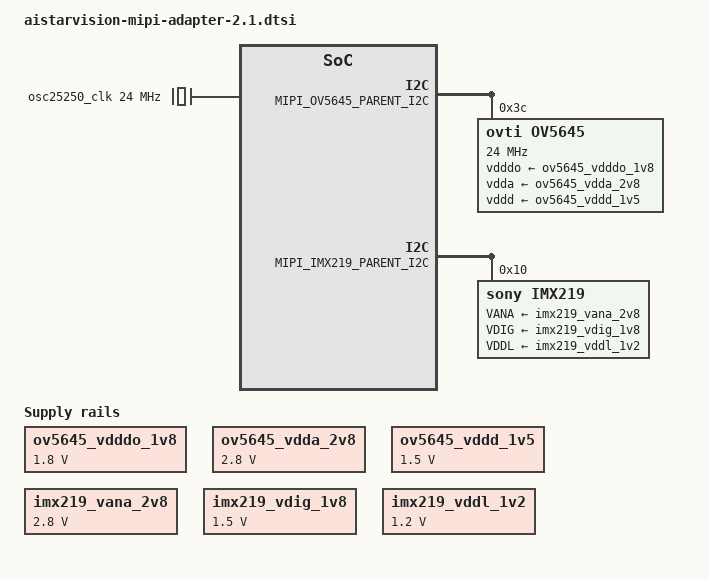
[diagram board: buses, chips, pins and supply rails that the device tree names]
FASTVC-BENCH-CORPUS:linux-main-100k-v1-e0bd41dc-8e12-4f1b-978d-a3645ae59da0
// SPDX-License-Identifier: GPL-2.0
/*
 * Device Tree Source for the AISTARVISION MIPI Adapter V2.1
 *
 * Copyright (C) 2020 Renesas Electronics Corp.
 */

/ {
	ov5645_vdddo_1v8: 1p8v {
		compatible = "regulator-fixed";
		regulator-name = "camera_vdddo";
		regulator-min-microvolt = <1800000>;
		regulator-max-microvolt = <1800000>;
		regulator-always-on;
	};

	ov5645_vdda_2v8: 2p8v {
		compatible = "regulator-fixed";
		regulator-name = "camera_vdda";
		regulator-min-microvolt = <2800000>;
/* bench 26709.0.0 38e950fddcf6 */
/* bench 26709.0.1 e15e485523d2 */
/* bench 26709.0.2 7486bea3f647 */
/* bench 26709.0.3 9561dfe23703 */
/* bench 26709.0.4 62fbae33c761 */
/* bench 26709.0.5 ccdf42effc37 */
/* bench 26709.0.6 a4504db81715 */
/* bench 26709.0.7 b996d5e2a98e */
/* bench 26709.0.8 88d1ebaae4af */
/* bench 26709.0.9 b40c9b80734e */
/* bench 26709.0.10 98e6f05850cc */
/* bench 26709.0.11 5c3fa7e9c8c4 */
/* bench 26709.0.12 bb03aba23ea3 */
/* bench 26709.0.13 89c829a10251 */
/* bench 26709.0.14 369d7922d266 */
		regulator-max-microvolt = <2800000>;
		regulator-always-on;
	};

	ov5645_vddd_1v5: 1p5v {
		compatible = "regulator-fixed";
		regulator-name = "camera_vddd";
		regulator-min-microvolt = <1500000>;
		regulator-max-microvolt = <1500000>;
		regulator-always-on;
	};

	imx219_vana_2v8: 2p8v {
		compatible = "regulator-fixed";
		regulator-name = "camera_vana";
		regulator-min-microvolt = <2800000>;
		regulator-max-microvolt = <2800000>;
		regulator-always-on;
	};

	imx219_vdig_1v8: 1p8v {
		compatible = "regulator-fixed";
		regulator-name = "camera_vdig";
		regulator-min-microvolt = <1500000>;
		regulator-max-microvolt = <1500000>;
		regulator-always-on;
	};

	imx219_vddl_1v2: 1p2v {
		compatible = "regulator-fixed";
		regulator-name = "camera_vddl";
		regulator-min-microvolt = <1200000>;
		regulator-max-microvolt = <1200000>;
		regulator-always-on;
	};

	osc25250_clk: osc25250_clk {
		compatible = "fixed-clock";
		#clock-cells = <0>;
		clock-frequency = <24000000>;
	};
};

&MIPI_OV5645_PARENT_I2C {
	ov5645: ov5645@3c {
		compatible = "ovti,ov5645";
		reg = <0x3c>;
		clock-names = "xclk";
		clocks = <&osc25250_clk>;
		clock-frequency = <24000000>;
		vdddo-supply = <&ov5645_vdddo_1v8>;
		vdda-supply = <&ov5645_vdda_2v8>;
		vddd-supply = <&ov5645_vddd_1v5>;

		port {
			ov5645_ep: endpoint {
			};
		};
	};
};

&MIPI_IMX219_PARENT_I2C {
	imx219: imx219@10 {
		compatible = "sony,imx219";
		reg = <0x10>;
		clocks = <&osc25250_clk>;
		VANA-supply = <&imx219_vana_2v8>;
		VDIG-supply = <&imx219_vdig_1v8>;
		VDDL-supply = <&imx219_vddl_1v2>;

		port {
			imx219_ep: endpoint {
			};
		};
	};
};
